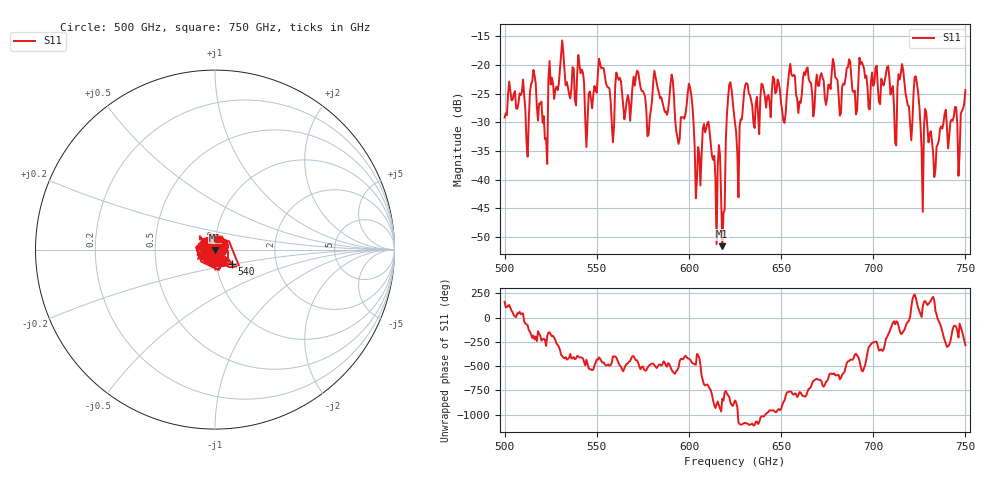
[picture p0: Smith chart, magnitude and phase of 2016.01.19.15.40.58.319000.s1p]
!Created with skrf (http://scikit-rf.org).
# GHz S RI R 50.0
!freq ReS11 ImS11
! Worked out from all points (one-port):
!   401 points, 500 GHz to 750 GHz, reference 50 ohm
!   lowest |S11| = -51.6 dB at 618.1 GHz (marker M1), VSWR 1.01, Z = 49.9 - j0.239 ohm
!   |S11| at or under -10 dB: start of sweep to end of sweep
!   S11 on the Smith chart (normalised r, x): 500 GHz: 0.94, +0.02; 540 GHz: 1.19, -0.19; 750 GHz: 1.02, +0.12
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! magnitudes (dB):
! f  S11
! 500 GHz  -29.2
! 512.5 GHz  -36.0
! 515.6 GHz  -20.9
! 521.9 GHz  -33.0
! 531.2 GHz  -15.7
! 540 GHz  -18.3
! 545 GHz  -29.8
! 551.9 GHz  -19.9
! 558.1 GHz  -30.0
! 562.5 GHz  -22.3
! 578.1 GHz  -32.2
! 590.6 GHz  -21.7
! 593.8 GHz  -32.6
! 600.6 GHz  -23.9
! 605 GHz  -34.4
! 609.4 GHz  -31.1
! 618.1 GHz  -51.6
! 621.9 GHz  -23.4
! 625 GHz  -30.1
! 631.2 GHz  -23.2
! 651.2 GHz  -29.8
! 656.2 GHz  -22.0
! 687.5 GHz  -19.4
! 718.8 GHz  -27.1
! 723.1 GHz  -22.0
! 726.2 GHz  -34.7
! 733.8 GHz  -38.3
! 750 GHz  -24.4
